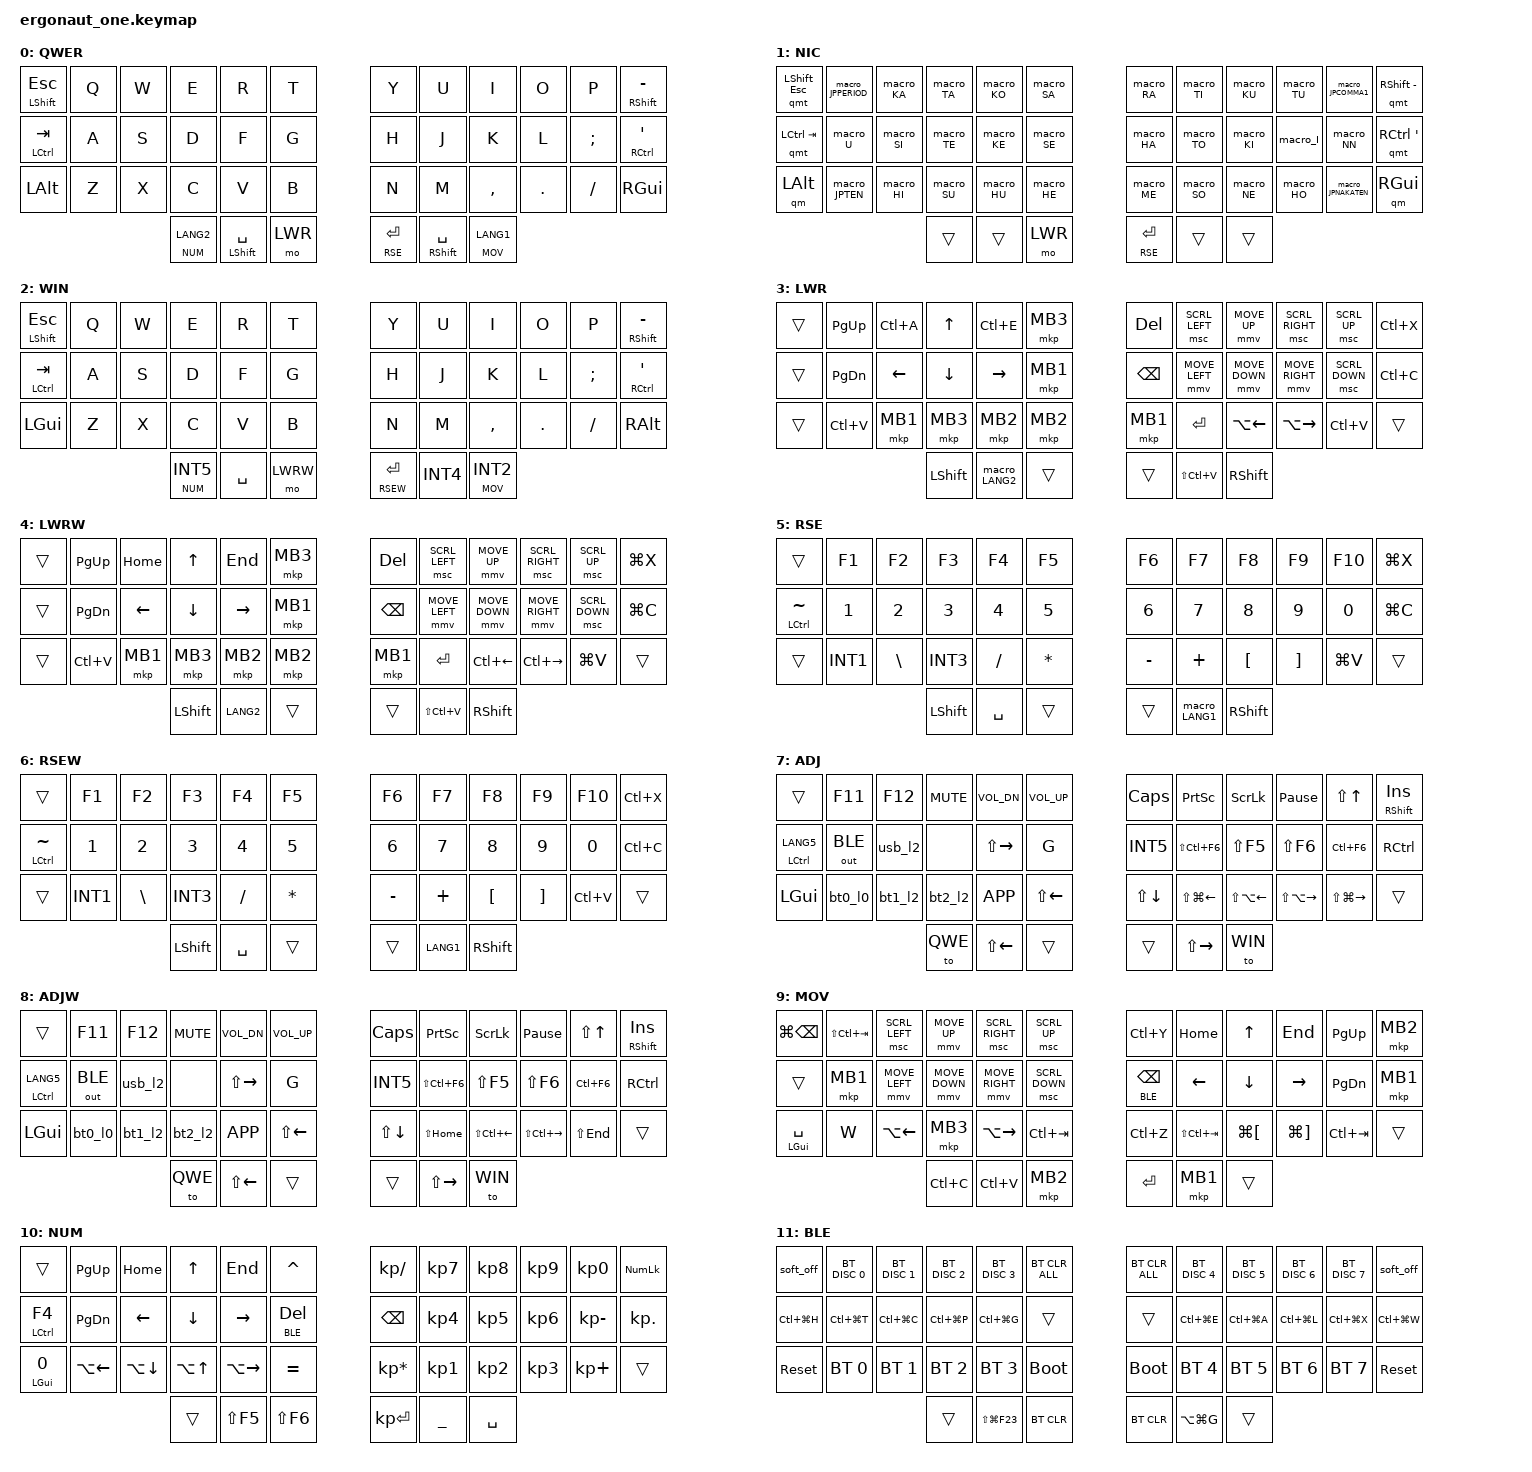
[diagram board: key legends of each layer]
#include <behaviors.dtsi>
#include <dt-bindings/zmk/keys.h>
#include <dt-bindings/zmk/bt.h>
#include <dt-bindings/zmk/mouse.h>
#include <dt-bindings/zmk/outputs.h>

// #define ZMK_POINTING_DEFAULT_MOVE_VAL 1200  // default: 600
// #define ZMK_POINTING_DEFAULT_SCRL_VAL 20    // default: 10

#include <dt-bindings/zmk/pointing.h>
#include <mouse-gesture.dtsi>

#define QWE 0
#define NIC 1
#define WIN 2
#define LWR 3
#define LWRW 4
#define RSE 5
#define RSEW 6
#define ADJ 7
#define ADJW 8
#define MOV 9
#define NUM 10
#define BLE 11


&lt {
    quick-tap-ms = <150>;
};

&mt {
    quick-tap-ms = <150>;
};

&caps_word {
    continue-list = <UNDERSCORE MINUS>;
};

/ { // ここが唯一のルートノードの始まり
    combos {
        compatible = "zmk,combos";

// 複数キーの同時押しに特別の入力を設定できる
    // キー番号早見表：
    // 	0  1  2  3  4  5 	 6  7  8  9 10 11
    // 12 13 14 15 16 17	18 19 20 21 22 23
    // 24 25 26 27 28 29	30 31 32 33 34 35
    //          36 37 38	39 40 41 

	combo_ESC {
		timeout-ms = <80>;
		key-positions = <11 23>;
		layers = <0 1 2>;
		bindings = <&kp ESC>;
	};

	combo_PSHIFT {
		timeout-ms = <80>;
		key-positions = <24 35>;
		layers = <0 2 3 4 5 6>;
		bindings = <&kp LSHIFT>;
	};

	// combo_TSHIFT {
	// 	timeout-ms = <80>;
	// 	key-positions = <36 41>;
	// 	layers = <0 2 3 4 5 6>;
	// 	bindings = <&kp RSHIFT>;
	// };
	
	combo_PLSHIFT {
		timeout-ms = <80>;
		key-positions = <12 24>;
		layers = <0 5 6>;
		bindings = <&kp LSHIFT>;
	};

	combo_PRSHIFT {
		timeout-ms = <80>;
		key-positions = <23 35>;
		layers = <0 5 6>;
		bindings = <&kp RSHIFT>;
		};

	combo_RCOPY {
		timeout-ms = <80>;
		key-positions = <23 35>;
		layers = <1 2>;
		bindings = <&kp C>;
		};

	combo_RDEL {
		timeout-ms = <80>;
		key-positions = <23 35>;
		layers = <9>;
		bindings = <&kp D>;
		};

	combo_CAPSWORD {
		timeout-ms = <30>;
		key-positions = <36 41>;
		layers = <0 2>;
		bindings = <&caps_word>;
	};

	// combo_JPQMARKL {
	// 	timeout-ms = <50>;
	// 	key-positions = <13 37>;
	// 	layers = <5>;
	// 	bindings = <&macro_JPQMARKL>;
	// };

	// combo_JPSLASHL {
	// 	timeout-ms = <50>;
	// 	key-positions = <14 37>;
	// 	layers = <5>;
	// 	bindings = <&macro_JPSLASHL>;
	// };

	// combo_JPTILDEL {
	// 	timeout-ms = <50>;
	// 	key-positions = <15 37>;
	// 	layers = <5>;
	// 	bindings = <&macro_JPTILDEL>;
	// };

	// combo_JPLKAGIL {
	// 	timeout-ms = <50>;
	// 	key-positions = <16 37>;
	// 	layers = <5>;
	// 	bindings = <&macro_JPLKAGIL>;
	// };

	// combo_JPRKAGIL {
	// 	timeout-ms = <50>;
	// 	key-positions = <17 37>;
	// 	layers = <5>;
	// 	bindings = <&macro_JPRKAGIL>;
	// };

	// combo_JPLKADOL {
	// 	timeout-ms = <50>;
	// 	key-positions = <18 37>;
	// 	layers = <5>;
	// 	bindings = <&macro_JPLKADOL>;
	// };

	// combo_JPRKADOL {
	// 	timeout-ms = <50>;
	// 	key-positions = <19 37>;
	// 	layers = <5>;
	// 	bindings = <&macro_JPRKADOL>;
	// };

	// combo_JPLMARUL {
	// 	timeout-ms = <50>;
	// 	key-positions = <20 37>;
	// 	layers = <5>;
	// 	bindings = <&macro_JPLMARUL>;
	// };

	// combo_JPRMARUL {
	// 	timeout-ms = <50>;
	// 	key-positions = <21 37>;
	// 	layers = <5>;
	// 	bindings = <&macro_JPRMARUL>;
	// };

	// combo_JPLDKAGIL {
	// 	timeout-ms = <50>;
	// 	key-positions = <22 37>;
	// 	layers = <5>;
	// 	bindings = <&macro_JPLDKAGIL>;
	// };

	// combo_JPRDKAGIL {
	// 	timeout-ms = <50>;
	// 	key-positions = <23 37>;
	// 	layers = <5>;
	// 	bindings = <&macro_JPRDKAGIL>;
	// };

	combo_XA {
		timeout-ms = <50>;
		key-positions = <1 37>;
		layers = <1>;
		bindings = <&macro_XA>;
	};

	combo_E {
		timeout-ms = <50>;
		key-positions = <2 37>;
		layers = <1>;
		bindings = <&macro_E>;
	};

	combo_RI {
		timeout-ms = <50>;
		key-positions = <3 37>;
		layers = <1>;
		bindings = <&macro_RI>;
	};

	combo_XYA {
		timeout-ms = <50>;
		key-positions = <4 37>;
		layers = <1>;
		bindings = <&macro_XYA>;
	};

	combo_RE {
		timeout-ms = <50>;
		key-positions = <5 37>;
		layers = <1>;
		bindings = <&macro_RE>;
	};

	combo_PA {
		timeout-ms = <50>;
		key-positions = <6 37>;
		layers = <1>;
		bindings = <&macro_PA>;
	};

	combo_DI {
		timeout-ms = <50>;
		key-positions = <7 37>;
		layers = <1>;
		bindings = <&macro_DI>;
	};

	combo_GU {
		timeout-ms = <50>;
		key-positions = <8 37>;
		layers = <1>;
		bindings = <&macro_GU>;
	};

	combo_DU {
		timeout-ms = <50>;
		key-positions = <9 37>;
		layers = <1>;
		bindings = <&macro_DU>;
	};

	combo_PI {
		timeout-ms = <50>;
		key-positions = <10 37>;
		layers = <1>;
		bindings = <&macro_PI>;
	};

	combo_WO {
		timeout-ms = <50>;
		key-positions = <13 37>;
		layers = <1>;
		bindings = <&macro_WO>;
	};

	combo_A {
		timeout-ms = <50>;
		key-positions = <14 37>;
		layers = <1>;
		bindings = <&macro_A>;
	};

	combo_NA {
		timeout-ms = <50>;
		key-positions = <15 37>;
		layers = <1>;
		bindings = <&macro_NA>;
	};

	combo_XYU {
		timeout-ms = <50>;
		key-positions = <16 37>;
		layers = <1>;
		bindings = <&macro_XYU>;
	};

	combo_MO {
		timeout-ms = <50>;
		key-positions = <17 37>;
		layers = <1>;
		bindings = <&macro_MO>;
	};

	combo_BA {
		timeout-ms = <50>;
		key-positions = <18 37>;
		layers = <1>;
		bindings = <&macro_BA>;
	};

	combo_DO {
		timeout-ms = <50>;
		key-positions = <19 37>;
		layers = <1>;
		bindings = <&macro_DO>;
	};

	combo_GI {
		timeout-ms = <50>;
		key-positions = <20 37>;
		layers = <1>;
		bindings = <&macro_GI>;
	};

	combo_PO {
		timeout-ms = <50>;
		key-positions = <21 37>;
		layers = <1>;
		bindings = <&macro_PO>;
	};

	combo_XU {
		timeout-ms = <50>;
		key-positions = <25 37>;
		layers = <1>;
		bindings = <&macro_XU>;
	};

	combo_JPMINUS2 {
		timeout-ms = <50>;
		key-positions = <26 37>;
		layers = <1>;
		bindings = <&macro_JPMINUS2>;
	};

	combo_RO {
		timeout-ms = <50>;
		key-positions = <27 37>;
		layers = <1>;
		bindings = <&macro_RO>;
	};

	combo_YA {
		timeout-ms = <50>;
		key-positions = <28 37>;
		layers = <1>;
		bindings = <&macro_YA>;
	};

	combo_XI {
		timeout-ms = <50>;
		key-positions = <29 37>;
		layers = <1>;
		bindings = <&macro_XI>;
	};

	combo_PU {
		timeout-ms = <50>;
		key-positions = <30 37>;
		layers = <1>;
		bindings = <&macro_PU>;
	};

	combo_ZO {
		timeout-ms = <50>;
		key-positions = <31 37>;
		layers = <1>;
		bindings = <&macro_ZO>;
	};

	combo_PE {
		timeout-ms = <50>;
		key-positions = <32 37>;
		layers = <1>;
		bindings = <&macro_PE>;
	};

	combo_BO {
		timeout-ms = <50>;
		key-positions = <33 37>;
		layers = <1>;
		bindings = <&macro_BO>;
	};

	// combo_JPQMARKR {
	// 	timeout-ms = <50>;
	// 	key-positions = <13 40>;
	// 	layers = <5>;
	// 	bindings = <&macro_JPQMARKR>;
	// };

	// combo_JPSLASHR {
	// 	timeout-ms = <50>;
	// 	key-positions = <14 40>;
	// 	layers = <5>;
	// 	bindings = <&macro_JPSLASHR>;
	// };

	// combo_JPTILDER {
	// 	timeout-ms = <50>;
	// 	key-positions = <15 40>;
	// 	layers = <1>;
	// 	bindings = <&macro_JPTILDER>;
	// };

	// combo_JPLKAGIR {
	// 	timeout-ms = <50>;
	// 	key-positions = <16 40>;
	// 	layers = <1>;
	// 	bindings = <&macro_JPLKAGIR>;
	// };

	// combo_JPRKAGIR {
	// 	timeout-ms = <50>;
	// 	key-positions = <17 40>;
	// 	layers = <1>;
	// 	bindings = <&macro_JPRKAGIR>;
	// };

	// combo_JPLKADOR {
	// 	timeout-ms = <50>;
	// 	key-positions = <18 40>;
	// 	layers = <1>;
	// 	bindings = <&macro_JPLKADOR>;
	// };

	// combo_JPRKADOR {
	// 	timeout-ms = <50>;
	// 	key-positions = <19 40>;
	// 	layers = <1>;
	// 	bindings = <&macro_JPRKADOR>;
	// };

	// combo_JPLMARUR {
	// 	timeout-ms = <50>;
	// 	key-positions = <20 40>;
	// 	layers = <1>;
	// 	bindings = <&macro_JPLMARUR>;
	// };

	// combo_JPRMARUR {
	// 	timeout-ms = <50>;
	// 	key-positions = <21 40>;
	// 	layers = <1>;
	// 	bindings = <&macro_JPRMARUR>;
	// };

	// combo_JPLDKAGIR {
	// 	timeout-ms = <50>;
	// 	key-positions = <22 40>;
	// 	layers = <1>;
	// 	bindings = <&macro_JPLDKAGIR>;
	// };

	// combo_JPRDKAGIR {
	// 	timeout-ms = <50>;
	// 	key-positions = <23 40>;
	// 	layers = <1>;
	// 	bindings = <&macro_JPRDKAGIR>;
	// };
	
	combo_JPTILDER {
		timeout-ms = <50>;
		key-positions = <1 40>;
		layers = <1>;
		bindings = <&macro_JPTILDER>;
	};

	combo_GA {
		timeout-ms = <50>;
		key-positions = <2 40>;
		layers = <1>;
		bindings = <&macro_GA>;
	};

	combo_DA {
		timeout-ms = <50>;
		key-positions = <3 40>;
		layers = <1>;
		bindings = <&macro_DA>;
	};

	combo_GO {
		timeout-ms = <50>;
		key-positions = <4 40>;
		layers = <1>;
		bindings = <&macro_GO>;
	};

	combo_ZA {
		timeout-ms = <50>;
		key-positions = <5 40>;
		layers = <1>;
		bindings = <&macro_ZA>;
	};

	combo_YO {
		timeout-ms = <50>;
		key-positions = <6 40>;
		layers = <1>;
		bindings = <&macro_YO>;
	};

	combo_NI {
		timeout-ms = <50>;
		key-positions = <7 40>;
		layers = <1>;
		bindings = <&macro_NI>;
	};

	combo_RU {
		timeout-ms = <50>;
		key-positions = <8 40>;
		layers = <1>;
		bindings = <&macro_RU>;
	};

	combo_MA {
		timeout-ms = <50>;
		key-positions = <9 40>;
		layers = <1>;
		bindings = <&macro_MA>;
	};

	combo_XE {
		timeout-ms = <50>;
		key-positions = <10 40>;
		layers = <1>;
		bindings = <&macro_XE>;
	};

	combo_VU {
		timeout-ms = <50>;
		key-positions = <13 40>;
		layers = <1>;
		bindings = <&macro_VU>;
	};

	combo_JI {
		timeout-ms = <50>;
		key-positions = <14 40>;
		layers = <1>;
		bindings = <&macro_JI>;
	};

	combo_DE {
		timeout-ms = <50>;
		key-positions = <15 40>;
		layers = <1>;
		bindings = <&macro_DE>;
	};

	combo_GE {
		timeout-ms = <50>;
		key-positions = <16 40>;
		layers = <1>;
		bindings = <&macro_GE>;
	};

	combo_ZE {
		timeout-ms = <50>;
		key-positions = <17 40>;
		layers = <1>;
		bindings = <&macro_ZE>;
	};

	combo_MI {
		timeout-ms = <50>;
		key-positions = <18 40>;
		layers = <1>;
		bindings = <&macro_MI>;
	};

	combo_O {
		timeout-ms = <50>;
		key-positions = <19 40>;
		layers = <1>;
		bindings = <&macro_O>;
	};

	combo_NO {
		timeout-ms = <50>;
		key-positions = <20 40>;
		layers = <1>;
		bindings = <&macro_NO>;
	};

	combo_XYO {
		timeout-ms = <50>;
		key-positions = <21 40>;
		layers = <1>;
		bindings = <&macro_XYO>;
	};

	combo_XTU {
		timeout-ms = <50>;
		key-positions = <22 40>;
		layers = <1>;
		bindings = <&macro_XTU>;
	};

	combo_JPCOMMA2 {
		timeout-ms = <50>;
		key-positions = <25 40>;
		layers = <1>;
		bindings = <&macro_JPCOMMA2>;
	};

	combo_BI {
		timeout-ms = <50>;
		key-positions = <26 40>;
		layers = <1>;
		bindings = <&macro_BI>;
	};

	combo_ZU {
		timeout-ms = <50>;
		key-positions = <27 40>;
		layers = <1>;
		bindings = <&macro_ZU>;
	};

	combo_BU {
		timeout-ms = <50>;
		key-positions = <28 40>;
		layers = <1>;
		bindings = <&macro_BU>;
	};

	combo_BE {
		timeout-ms = <50>;
		key-positions = <29 40>;
		layers = <1>;
		bindings = <&macro_BE>;
	};

	combo_NU {
		timeout-ms = <50>;
		key-positions = <30 40>;
		layers = <1>;
		bindings = <&macro_NU>;
	};

	combo_YU {
		timeout-ms = <50>;
		key-positions = <31 40>;
		layers = <1>;
		bindings = <&macro_YU>;
	};

	combo_MU {
		timeout-ms = <50>;
		key-positions = <32 40>;
		layers = <1>;
		bindings = <&macro_MU>;
	};

	combo_WA {
		timeout-ms = <50>;
		key-positions = <33 40>;
		layers = <1>;
		bindings = <&macro_WA>;
	};

	combo_XO {
		timeout-ms = <50>;
		key-positions = <34 40>;
		layers = <1>;
		bindings = <&macro_XO>;
	};

    }; // combos ノードの閉じ括弧の後にセミコロンが必要

    // ***** ここからが重要: 余分な "/ {" を削除し、既存のルートノード内で定義を続ける *****
    macro_LANG1: macro_LANG1 {
        compatible = "zmk,behavior-macro";
        label = "macro_LANG1";
        #binding-cells = <0>;
        bindings = <&kp LANG1>, <&to 1>;
    }; // 各マクロノードの閉じ括弧の後にセミコロンが必要

    macro_LANG2: macro_LANG2 {
        compatible = "zmk,behavior-macro";
        label = "macro_LANG2";
        #binding-cells = <0>;
        bindings = <&kp LANG2>, <&to 0>;
    }; // 各マクロノードの閉じ括弧の後にセミコロンが必要

	macro_JPN1: macro_JPN1{
		compatible = "zmk,behavior-macro";
		label = "macro_JPN1";
		#binding-cells = <0>;
		bindings = <&kp N1>;
	};
	macro_JPN2: macro_JPN2{
		compatible = "zmk,behavior-macro";
		label = "macro_JPN2";
		#binding-cells = <0>;
		bindings = <&kp N2>;
	};
	macro_JPN3: macro_JPN3{
		compatible = "zmk,behavior-macro";
		label = "macro_JPN3";
		#binding-cells = <0>;
		bindings = <&kp N3>;
	};
	macro_JPN4: macro_JPN4{
		compatible = "zmk,behavior-macro";
		label = "macro_JPN4";
		#binding-cells = <0>;
		bindings = <&kp N4>;
	};
	macro_JPN5: macro_JPN5{
		compatible = "zmk,behavior-macro";
		label = "macro_JPN5";
		#binding-cells = <0>;
		bindings = <&kp N5>;
	};
	macro_JPN6: macro_JPN6{
		compatible = "zmk,behavior-macro";
		label = "macro_JPN6";
		#binding-cells = <0>;
		bindings = <&kp N6>;
	};
	macro_JPN7: macro_JPN7{
		compatible = "zmk,behavior-macro";
		label = "macro_JPN7";
		#binding-cells = <0>;
		bindings = <&kp N7>;
	};
	macro_JPN8: macro_JPN8{
		compatible = "zmk,behavior-macro";
		label = "macro_JPN8";
		#binding-cells = <0>;
		bindings = <&kp N8>;
	};
	macro_JPN9: macro_JPN9{
		compatible = "zmk,behavior-macro";
		label = "macro_JPN9";
		#binding-cells = <0>;
		bindings = <&kp N9>;
	};
	macro_JPN0: macro_JPN0{
		compatible = "zmk,behavior-macro";
		label = "macro_JPN0";
		#binding-cells = <0>;
		bindings = <&kp N0>;
	};
	macro_JPMINUS1: macro_JPMINUS1{
		compatible = "zmk,behavior-macro";
		label = "macro_JPMINUS1";
		#binding-cells = <0>;
		bindings = <&kp MINUS>;
	};
	macro_JPPERIOD: macro_JPPERIOD{
		compatible = "zmk,behavior-macro";
		label = "macro_JPPERIOD";
		#binding-cells = <0>;
		bindings = <&kp PERIOD>;
	};
	macro_KA: macro_KA{
		compatible = "zmk,behavior-macro";
		label = "macro_KA";
		#binding-cells = <0>;
		bindings = <&kp K>, <&kp A>;
	};
	macro_TA: macro_TA{
		compatible = "zmk,behavior-macro";
		label = "macro_TA";
		#binding-cells = <0>;
		bindings = <&kp T>, <&kp A>;
	};
	macro_KO: macro_KO{
		compatible = "zmk,behavior-macro";
		label = "macro_KO";
		#binding-cells = <0>;
		bindings = <&kp K>, <&kp O>;
	};
	macro_SA: macro_SA{
		compatible = "zmk,behavior-macro";
		label = "macro_SA";
		#binding-cells = <0>;
		bindings = <&kp S>, <&kp A>;
	};
	macro_RA: macro_RA{
		compatible = "zmk,behavior-macro";
		label = "macro_RA";
		#binding-cells = <0>;
		bindings = <&kp R>, <&kp A>;
	};
	macro_TI: macro_TI{
		compatible = "zmk,behavior-macro";
		label = "macro_TI";
		#binding-cells = <0>;
		bindings = <&kp T>, <&kp I>;
	};
	macro_KU: macro_KU{
		compatible = "zmk,behavior-macro";
		label = "macro_KU";
		#binding-cells = <0>;
		bindings = <&kp K>, <&kp U>;
	};
	macro_TU: macro_TU{
		compatible = "zmk,behavior-macro";
		label = "macro_TU";
		#binding-cells = <0>;
		bindings = <&kp T>, <&kp U>;
	};
	macro_JPCOMMA2: macro_JPCOMMA2{
		compatible = "zmk,behavior-macro";
		label = "macro_JPCOMMA2";
		#binding-cells = <0>;
		bindings = <&kp LA(COMMA)>;
	};
	macro_JPCOMMA1: macro_JPCOMMA1{
		compatible = "zmk,behavior-macro";
		label = "macro_JPCOMMA1";
		#binding-cells = <0>;
		bindings = <&kp COMMA>;
	};
	macro_U: macro_U{
		compatible = "zmk,behavior-macro";
		label = "macro_U";
		#binding-cells = <0>;
		bindings = <&kp U>;
	};
	macro_SI: macro_SI{
		compatible = "zmk,behavior-macro";
		label = "macro_SI";
		#binding-cells = <0>;
		bindings = <&kp S>, <&kp I>;
	};
	macro_TE: macro_TE{
		compatible = "zmk,behavior-macro";
		label = "macro_TE";
		#binding-cells = <0>;
		bindings = <&kp T>, <&kp E>;
	};
	macro_KE: macro_KE{
		compatible = "zmk,behavior-macro";
		label = "macro_KE";
		#binding-cells = <0>;
		bindings = <&kp K>, <&kp E>;
	};
	macro_SE: macro_SE{
		compatible = "zmk,behavior-macro";
		label = "macro_SE";
		#binding-cells = <0>;
		bindings = <&kp S>, <&kp E>;
	};
	macro_HA: macro_HA{
		compatible = "zmk,behavior-macro";
		label = "macro_HA";
		#binding-cells = <0>;
		bindings = <&kp H>, <&kp A>;
	};
	macro_TO: macro_TO{
		compatible = "zmk,behavior-macro";
		label = "macro_TO";
		#binding-cells = <0>;
		bindings = <&kp T>, <&kp O>;
	};
	macro_KI: macro_KI{
		compatible = "zmk,behavior-macro";
		label = "macro_KI";
		#binding-cells = <0>;
		bindings = <&kp K>, <&kp I>;
	};
	macro_I: macro_I{
		compatible = "zmk,behavior-macro";
		label = "macro_I";
		#binding-cells = <0>;
		bindings = <&kp I>;
	};
	macro_NN: macro_NN{
		compatible = "zmk,behavior-macro";
		label = "macro_NN";
		#binding-cells = <0>;
		bindings = <&kp N>, <&kp N>;
	};
	macro_JPBACKSPACE: macro_JPBACKSPACE{
		compatible = "zmk,behavior-macro";
		label = "macro_JPBACKSPACE";
		#binding-cells = <0>;
		bindings = <&kp BACKSPACE>;
	};
	macro_JPTEN: macro_JPTEN{
		compatible = "zmk,behavior-macro";
		label = "macro_JPTEN";
		#binding-cells = <0>;
		bindings = <&kp LA(PERIOD)>;
	};
	macro_HI: macro_HI{
		compatible = "zmk,behavior-macro";
		label = "macro_HI";
		#binding-cells = <0>;
		bindings = <&kp H>, <&kp I>;
	};
	macro_SU: macro_SU{
		compatible = "zmk,behavior-macro";
		label = "macro_SU";
		#binding-cells = <0>;
		bindings = <&kp S>, <&kp U>;
	};
	macro_HU: macro_HU{
		compatible = "zmk,behavior-macro";
		label = "macro_HU";
		#binding-cells = <0>;
		bindings = <&kp H>, <&kp U>;
	};
	macro_HE: macro_HE{
		compatible = "zmk,behavior-macro";
		label = "macro_HE";
		#binding-cells = <0>;
		bindings = <&kp H>, <&kp E>;
	};
	macro_ME: macro_ME{
		compatible = "zmk,behavior-macro";
		label = "macro_ME";
		#binding-cells = <0>;
		bindings = <&kp M>, <&kp E>;
	};
	macro_SO: macro_SO{
		compatible = "zmk,behavior-macro";
		label = "macro_SO";
		#binding-cells = <0>;
		bindings = <&kp S>, <&kp O>;
	};
	macro_NE: macro_NE{
		compatible = "zmk,behavior-macro";
		label = "macro_NE";
		#binding-cells = <0>;
		bindings = <&kp N>, <&kp E>;
	};
	macro_HO: macro_HO{
		compatible = "zmk,behavior-macro";
		label = "macro_HO";
		#binding-cells = <0>;
		bindings = <&kp H>, <&kp O>;
	};
	macro_JPNAKATEN: macro_JPNAKATEN{
		compatible = "zmk,behavior-macro";
		label = "macro_JPNAKATEN";
		#binding-cells = <0>;
		bindings = <&kp SLASH>;
	};
	macro_JPEN: macro_JPEN{
		compatible = "zmk,behavior-macro";
		label = "macro_JPEN";
		#binding-cells = <0>;
		bindings = <&kp LA(BACKSLASH)>;
	};
	macro_JPQMARKL: macro_JPQMARKL{
		compatible = "zmk,behavior-macro";
		label = "macro_JPQMARKL";
		#binding-cells = <0>;
		bindings = <&kp QMARK>;
	};
	macro_JPSLASHL: macro_JPSLASHL{
		compatible = "zmk,behavior-macro";
		label = "macro_JPSLASHL";
		#binding-cells = <0>;
		bindings = <&kp LA(SLASH)>;
	};
	macro_JPTILDEL: macro_JPTILDEL{
		compatible = "zmk,behavior-macro";
		label = "macro_JPTILDEL";
		#binding-cells = <0>;
		bindings = <&kp TILDE>;
	};
	macro_JPLKAGIL: macro_JPLKAGIL{
		compatible = "zmk,behavior-macro";
		label = "macro_JPLKAGIL";
		#binding-cells = <0>;
		bindings = <&kp LBKT>;
	};
	macro_JPRKAGIL: macro_JPRKAGIL{
		compatible = "zmk,behavior-macro";
		label = "macro_JPRKAGIL";
		#binding-cells = <0>;
		bindings = <&kp RBKT>;
	};
	macro_JPLKADOL: macro_JPLKADOL{
		compatible = "zmk,behavior-macro";
		label = "macro_JPLKADOL";
		#binding-cells = <0>;
		bindings = <&kp LA(LBKT)>;
	};
	macro_JPRKADOL: macro_JPRKADOL{
		compatible = "zmk,behavior-macro";
		label = "macro_JPRKADOL";
		#binding-cells = <0>;
		bindings = <&kp LA(RBKT)>;
	};
	macro_JPLMARUL: macro_JPLMARUL{
		compatible = "zmk,behavior-macro";
		label = "macro_JPLMARUL";
		#binding-cells = <0>;
		bindings = <&kp LS(N9)>;
	};
	macro_JPRMARUL: macro_JPRMARUL{
		compatible = "zmk,behavior-macro";
		label = "macro_JPRMARUL";
		#binding-cells = <0>;
		bindings = <&kp LS(N0)>;
	};
	macro_JPLDKAGIL: macro_JPLDKAGIL{
		compatible = "zmk,behavior-macro";
		label = "macro_JPLDKAGIL";
		#binding-cells = <0>;
		bindings = <&kp LS(LBKT)>;
	};
	macro_JPRDKAGIL: macro_JPRDKAGIL{
		compatible = "zmk,behavior-macro";
		label = "macro_JPRDKAGIL";
		#binding-cells = <0>;
		bindings = <&kp LS(RBKT)>;
	};
	macro_XA: macro_XA{
		compatible = "zmk,behavior-macro";
		label = "macro_XA";
		#binding-cells = <0>;
		bindings = <&kp X>, <&kp A>;
	};
	macro_E: macro_E{
		compatible = "zmk,behavior-macro";
		label = "macro_E";
		#binding-cells = <0>;
		bindings = <&kp E>;
	};
	macro_RI: macro_RI{
		compatible = "zmk,behavior-macro";
		label = "macro_RI";
		#binding-cells = <0>;
		bindings = <&kp R>, <&kp I>;
	};
	macro_XYA: macro_XYA{
		compatible = "zmk,behavior-macro";
		label = "macro_XYA";
		#binding-cells = <0>;
		bindings = <&kp X>, <&kp Y>, <&kp A>;
	};
	macro_RE: macro_RE{
		compatible = "zmk,behavior-macro";
		label = "macro_RE";
		#binding-cells = <0>;
		bindings = <&kp R>, <&kp E>;
	};
	macro_PA: macro_PA{
		compatible = "zmk,behavior-macro";
		label = "macro_PA";
		#binding-cells = <0>;
		bindings = <&kp P>, <&kp A>;
	};
	macro_DI: macro_DI{
		compatible = "zmk,behavior-macro";
		label = "macro_DI";
		#binding-cells = <0>;
		bindings = <&kp D>, <&kp I>;
	};
	macro_GU: macro_GU{
		compatible = "zmk,behavior-macro";
		label = "macro_GU";
		#binding-cells = <0>;
		bindings = <&kp G>, <&kp U>;
	};
	macro_DU: macro_DU{
		compatible = "zmk,behavior-macro";
		label = "macro_DU";
		#binding-cells = <0>;
		bindings = <&kp D>, <&kp U>;
	};
	macro_PI: macro_PI{
		compatible = "zmk,behavior-macro";
		label = "macro_PI";
		#binding-cells = <0>;
		bindings = <&kp P>, <&kp I>;
	};
	macro_WO: macro_WO{
		compatible = "zmk,behavior-macro";
		label = "macro_WO";
		#binding-cells = <0>;
		bindings = <&kp W>, <&kp O>;
	};
	macro_A: macro_A{
		compatible = "zmk,behavior-macro";
		label = "macro_A";
		#binding-cells = <0>;
		bindings = <&kp A>;
	};
	macro_NA: macro_NA{
		compatible = "zmk,behavior-macro";
		label = "macro_NA";
		#binding-cells = <0>;
		bindings = <&kp N>, <&kp A>;
	};
	macro_XYU: macro_XYU{
		compatible = "zmk,behavior-macro";
		label = "macro_XYU";
		#binding-cells = <0>;
		bindings = <&kp X>, <&kp Y>, <&kp U>;
	};
	macro_MO: macro_MO{
		compatible = "zmk,behavior-macro";
		label = "macro_MO";
		#binding-cells = <0>;
		bindings = <&kp M>, <&kp O>;
	};
	macro_BA: macro_BA{
		compatible = "zmk,behavior-macro";
		label = "macro_BA";
		#binding-cells = <0>;
		bindings = <&kp B>, <&kp A>;
	};
	macro_DO: macro_DO{
		compatible = "zmk,behavior-macro";
		label = "macro_DO";
		#binding-cells = <0>;
		bindings = <&kp D>, <&kp O>;
	};
	macro_GI: macro_GI{
		compatible = "zmk,behavior-macro";
		label = "macro_GI";
		#binding-cells = <0>;
		bindings = <&kp G>, <&kp I>;
	};
	macro_PO: macro_PO{
		compatible = "zmk,behavior-macro";
		label = "macro_PO";
		#binding-cells = <0>;
		bindings = <&kp P>, <&kp O>;
	};
	macro_XU: macro_XU{
		compatible = "zmk,behavior-macro";
		label = "macro_XU";
		#binding-cells = <0>;
		bindings = <&kp X>, <&kp U>;
	};
	macro_JPMINUS2: macro_JPMINUS2{
		compatible = "zmk,behavior-macro";
		label = "macro_JPMINUS2";
		#binding-cells = <0>;
		bindings = <&kp MINUS>;
	};
	macro_RO: macro_RO{
		compatible = "zmk,behavior-macro";
		label = "macro_RO";
		#binding-cells = <0>;
		bindings = <&kp R>, <&kp O>;
	};
	macro_YA: macro_YA{
		compatible = "zmk,behavior-macro";
		label = "macro_YA";
		#binding-cells = <0>;
		bindings = <&kp Y>, <&kp A>;
	};
	macro_XI: macro_XI{
		compatible = "zmk,behavior-macro";
		label = "macro_XI";
		#binding-cells = <0>;
		bindings = <&kp X>, <&kp I>;
	};
	macro_PU: macro_PU{
		compatible = "zmk,behavior-macro";
		label = "macro_PU";
		#binding-cells = <0>;
		bindings = <&kp P>, <&kp U>;
	};
	macro_ZO: macro_ZO{
		compatible = "zmk,behavior-macro";
		label = "macro_ZO";
		#binding-cells = <0>;
		bindings = <&kp Z>, <&kp O>;
	};
	macro_PE: macro_PE{
		compatible = "zmk,behavior-macro";
		label = "macro_PE";
		#binding-cells = <0>;
		bindings = <&kp P>, <&kp E>;
	};
	macro_BO: macro_BO{
		compatible = "zmk,behavior-macro";
		label = "macro_BO";
		#binding-cells = <0>;
		bindings = <&kp B>, <&kp O>;
	};
	macro_JPQMARKR: macro_JPQMARKR{
		compatible = "zmk,behavior-macro";
		label = "macro_JPQMARKR";
		#binding-cells = <0>;
		bindings = <&kp QMARK>;
	};
	macro_JPSLASHR: macro_JPSLASHR{
		compatible = "zmk,behavior-macro";
		label = "macro_JPSLASHR";
		#binding-cells = <0>;
		bindings = <&kp LA(SLASH)>;
	};
	macro_JPTILDER: macro_JPTILDER{
		compatible = "zmk,behavior-macro";
		label = "macro_JPTILDER";
		#binding-cells = <0>;
		bindings = <&kp TILDE>;
	};
	macro_JPLKAGIR: macro_JPLKAGIR{
		compatible = "zmk,behavior-macro";
		label = "macro_JPLKAGIR";
		#binding-cells = <0>;
		bindings = <&kp LBKT>;
	};
	macro_JPRKAGIR: macro_JPRKAGIR{
		compatible = "zmk,behavior-macro";
		label = "macro_JPRKAGIR";
		#binding-cells = <0>;
		bindings = <&kp RBKT>;
	};
	macro_JPLKADOR: macro_JPLKADOR{
		compatible = "zmk,behavior-macro";
		label = "macro_JPLKADOR";
		#binding-cells = <0>;
		bindings = <&kp LA(LBKT)>;
	};
	macro_JPRKADOR: macro_JPRKADOR{
		compatible = "zmk,behavior-macro";
		label = "macro_JPRKADOR";
		#binding-cells = <0>;
		bindings = <&kp LA(RBKT)>;
	};
	macro_JPLMARUR: macro_JPLMARUR{
		compatible = "zmk,behavior-macro";
		label = "macro_JPLMARUR";
		#binding-cells = <0>;
		bindings = <&kp LS(N9)>;
	};
	macro_JPRMARUR: macro_JPRMARUR{
		compatible = "zmk,behavior-macro";
		label = "macro_JPRMARUR";
		#binding-cells = <0>;
		bindings = <&kp LS(N0)>;
	};
	macro_JPLDKAGIR: macro_JPLDKAGIR{
		compatible = "zmk,behavior-macro";
		label = "macro_JPLDKAGIR";
		#binding-cells = <0>;
		bindings = <&kp LS(LBKT)>;
	};
	macro_JPRDKAGIR: macro_JPRDKAGIR{
		compatible = "zmk,behavior-macro";
		label = "macro_JPRDKAGIR";
		#binding-cells = <0>;
		bindings = <&kp LS(RBKT)>;
	};
	macro_GA: macro_GA{
		compatible = "zmk,behavior-macro";
		label = "macro_GA";
		#binding-cells = <0>;
		bindings = <&kp G>, <&kp A>;
	};
	macro_DA: macro_DA{
		compatible = "zmk,behavior-macro";
		label = "macro_DA";
		#binding-cells = <0>;
		bindings = <&kp D>, <&kp A>;
	};
	macro_GO: macro_GO{
		compatible = "zmk,behavior-macro";
		label = "macro_GO";
		#binding-cells = <0>;
		bindings = <&kp G>, <&kp O>;
	};
	macro_ZA: macro_ZA{
		compatible = "zmk,behavior-macro";
		label = "macro_ZA";
		#binding-cells = <0>;
		bindings = <&kp Z>, <&kp A>;
	};
	macro_YO: macro_YO{
		compatible = "zmk,behavior-macro";
		label = "macro_YO";
		#binding-cells = <0>;
		bindings = <&kp Y>, <&kp O>;
	};
	macro_NI: macro_NI{
		compatible = "zmk,behavior-macro";
		label = "macro_NI";
		#binding-cells = <0>;
		bindings = <&kp N>, <&kp I>;
	};
	macro_RU: macro_RU{
		compatible = "zmk,behavior-macro";
		label = "macro_RU";
		#binding-cells = <0>;
		bindings = <&kp R>, <&kp U>;
	};
	macro_MA: macro_MA{
		compatible = "zmk,behavior-macro";
		label = "macro_MA";
		#binding-cells = <0>;
		bindings = <&kp M>, <&kp A>;
	};
	macro_XE: macro_XE{
		compatible = "zmk,behavior-macro";
		label = "macro_XE";
		#binding-cells = <0>;
		bindings = <&kp X>, <&kp E>;
	};
	macro_VU: macro_VU{
		compatible = "zmk,behavior-macro";
		label = "macro_VU";
		#binding-cells = <0>;
		bindings = <&kp V>, <&kp U>;
	};
	macro_JI: macro_JI{
		compatible = "zmk,behavior-macro";
		label = "macro_JI";
		#binding-cells = <0>;
		bindings = <&kp J>, <&kp I>;
	};
	macro_DE: macro_DE{
		compatible = "zmk,behavior-macro";
		label = "macro_DE";
		#binding-cells = <0>;
		bindings = <&kp D>, <&kp E>;
	};
	macro_GE: macro_GE{
		compatible = "zmk,behavior-macro";
		label = "macro_GE";
		#binding-cells = <0>;
		bindings = <&kp G>, <&kp E>;
	};
	macro_ZE: macro_ZE{
		compatible = "zmk,behavior-macro";
		label = "macro_ZE";
		#binding-cells = <0>;
		bindings = <&kp Z>, <&kp E>;
	};
	macro_MI: macro_MI{
		compatible = "zmk,behavior-macro";
		label = "macro_MI";
		#binding-cells = <0>;
		bindings = <&kp M>, <&kp I>;
	};
	macro_O: macro_O{
		compatible = "zmk,behavior-macro";
		label = "macro_O";
		#binding-cells = <0>;
		bindings = <&kp O>;
	};
	macro_NO: macro_NO{
		compatible = "zmk,behavior-macro";
		label = "macro_NO";
		#binding-cells = <0>;
		bindings = <&kp N>, <&kp O>;
	};
	macro_XYO: macro_XYO{
		compatible = "zmk,behavior-macro";
		label = "macro_XYO";
		#binding-cells = <0>;
		bindings = <&kp X>, <&kp Y>, <&kp O>;
	};
	macro_XTU: macro_XTU{
		compatible = "zmk,behavior-macro";
		label = "macro_XTU";
		#binding-cells = <0>;
		bindings = <&kp X>, <&kp T>, <&kp U>;
	};
	macro_BI: macro_BI{
		compatible = "zmk,behavior-macro";
		label = "macro_BI";
		#binding-cells = <0>;
		bindings = <&kp B>, <&kp I>;
	};
	macro_ZU: macro_ZU{
		compatible = "zmk,behavior-macro";
		label = "macro_ZU";
		#binding-cells = <0>;
		bindings = <&kp Z>, <&kp U>;
	};
	macro_BU: macro_BU{
		compatible = "zmk,behavior-macro";
		label = "macro_BU";
		#binding-cells = <0>;
		bindings = <&kp B>, <&kp U>;
	};
	macro_BE: macro_BE{
		compatible = "zmk,behavior-macro";
		label = "macro_BE";
		#binding-cells = <0>;
		bindings = <&kp B>, <&kp E>;
	};
	macro_NU: macro_NU{
		compatible = "zmk,behavior-macro";
		label = "macro_NU";
		#binding-cells = <0>;
		bindings = <&kp N>, <&kp U>;
	};
	macro_YU: macro_YU{
		compatible = "zmk,behavior-macro";
		label = "macro_YU";
		#binding-cells = <0>;
		bindings = <&kp Y>, <&kp U>;
	};
	macro_MU: macro_MU{
		compatible = "zmk,behavior-macro";
		label = "macro_MU";
		#binding-cells = <0>;
		bindings = <&kp M>, <&kp U>;
	};
	macro_WA: macro_WA{
		compatible = "zmk,behavior-macro";
		label = "macro_WA";
		#binding-cells = <0>;
		bindings = <&kp W>, <&kp A>;
	};
	macro_XO: macro_XO{
		compatible = "zmk,behavior-macro";
		label = "macro_XO";
		#binding-cells = <0>;
		bindings = <&kp X>, <&kp O>;
	};

	qmt: qwerty_mt {
            compatible = "zmk,behavior-macro-two-param";
            wait-ms = <0>;
            tap-ms = <0>;
            #binding-cells = <2>;
            bindings
                = <&macro_press &mo WIN>
                , <&macro_param_1to1>
                , <&macro_param_2to2>
                , <&macro_press &mt MACRO_PLACEHOLDER MACRO_PLACEHOLDER>
                , <&macro_pause_for_release>
                , <&macro_param_1to1>
                , <&macro_param_2to2>
                , <&macro_release &mt MACRO_PLACEHOLDER MACRO_PLACEHOLDER>
                , <&macro_release &mo WIN>
                ;
        };
        
	qm: qwerty_m {
            compatible = "zmk,behavior-macro-one-param";
            wait-ms = <0>;
            tap-ms = <0>;
            #binding-cells = <1>;
            bindings
                = <&macro_press &mo WIN>
                , <&macro_param_1to1>
                , <&macro_press &kp MACRO_PLACEHOLDER>
                , <&macro_pause_for_release>
                , <&macro_param_1to1>
                , <&macro_release &kp MACRO_PLACEHOLDER>
                , <&macro_release &mo WIN>
                ;
        };

    conditional_layers {
        compatible = "zmk,conditional-layers";

        tri-layer {
            if-layers = <LWR RSE>;
            then-layer = <ADJ>;
        };
		tri-layerw {
            if-layers = <LWRW RSEW>;
            then-layer = <ADJW>;
        };
    }; // conditional_layers の閉じ括弧の後にセミコロンが必要

    keymap {
        compatible = "zmk,keymap";

        default_layer {
            display-name = "QWER";
            bindings = <
                &mt LSHFT ESC     &kp Q   &kp W     &kp E         &kp R             &kp T         &kp Y         &kp U				&kp I         &kp O     &kp P      &mt RSHFT MINUS
                &mt LCTRL TAB     &kp A   &kp S     &kp D         &kp F             &kp G         &kp H         &kp J				&kp K         &kp L     &kp SEMI   &mt RCTRL SQT
                &kp LALT          &kp Z   &kp X     &kp C         &kp V             &kp B         &kp N         &kp M				&kp COMMA     &kp DOT   &kp FSLH   &kp RGUI
                                                    &lt NUM LANG2 &mt LSHIFT SPACE  &mo LWR       &lt RSE ENTER &mt RSHIFT SPACE	&lt MOV LANG1
            >;
        };
        nicola_layer {
            display-name = "NIC";
            bindings = <
                &qmt LSHFT ESC	&macro_JPPERIOD &macro_KA	&macro_TA      &macro_KO      &macro_SA      &macro_RA      &macro_TI      &macro_KU      &macro_TU      &macro_JPCOMMA1  &qmt RSHFT MINUS
                &qmt LCTRL TAB	&macro_U        &macro_SI	&macro_TE      &macro_KE      &macro_SE      &macro_HA      &macro_TO      &macro_KI      &macro_I       &macro_NN        &qmt RCTRL SQT
                &qm LALT	&macro_JPTEN    &macro_HI	&macro_SU      &macro_HU      &macro_HE      &macro_ME      &macro_SO      &macro_NE      &macro_HO      &macro_JPNAKATEN &qm RGUI
                                                		&trans         &trans         &mo LWR        &lt RSE ENTER  &trans         &trans
            >;
        };
        windows_layer {
            display-name = "WIN";
            bindings = <
                &mt LSHFT ESC     &kp Q   &kp W     &kp E         &kp R             &kp T         &kp Y         	&kp U            &kp I         &kp O     &kp P      &mt RSHFT MINUS
                &mt LCTRL TAB     &kp A   &kp S     &kp D         &kp F             &kp G         &kp H         	&kp J            &kp K         &kp L     &kp SEMI   &mt RCTRL SQT
                &kp LGUI          &kp Z   &kp X     &kp C         &kp V             &kp B         &kp N         	&kp M            &kp COMMA     &kp DOT   &kp FSLH   &kp RALT
                                                    &lt NUM INT5  &kp SPACE         &mo LWRW      &lt RSEW ENTER	&kp INT4         &lt MOV INT2
            >;
        };        
        lower_layer {
            display-name = "LWR";
            bindings = <
                &trans           &kp PG_UP  &kp LC(A)   &kp UP        &kp LC(E)    &mkp MB3    &kp DEL     &msc SCRL_LEFT &mmv MOVE_UP   &msc SCRL_RIGHT   &msc SCRL_UP   &kp LC(X)           
                &trans           &kp PG_DN  &kp LEFT    &kp DOWN      &kp RIGHT    &mkp MB1    &kp BSPC    &mmv MOVE_LEFT &mmv MOVE_DOWN &mmv MOVE_RIGHT   &msc SCRL_DOWN &kp LC(C)
                &trans           &kp LC(V)  &mkp MB1    &mkp MB3      &mkp MB2     &mkp MB2    &mkp MB1    &kp ENTER      &kp LA(LEFT)   &kp LA(RIGHT)     &kp LC(V)      &trans
                                                        &kp LSHFT     &macro_LANG2 &trans      &trans      &kp LS(LC(V))  &kp RSHFT
            >;
        };
		lowerw_layer {
            display-name = "LWRW";
            bindings = <
                &trans           &kp PG_UP  &kp HOME    &kp UP        &kp END     &mkp MB3    &kp DEL     &msc SCRL_LEFT &mmv MOVE_UP   &msc SCRL_RIGHT   &msc SCRL_UP   &kp LG(X)           
                &trans           &kp PG_DN  &kp LEFT    &kp DOWN      &kp RIGHT   &mkp MB1    &kp BSPC    &mmv MOVE_LEFT &mmv MOVE_DOWN &mmv MOVE_RIGHT   &msc SCRL_DOWN &kp LG(C)
                &trans           &kp LC(V)  &mkp MB1    &mkp MB3      &mkp MB2    &mkp MB2    &mkp MB1    &kp ENTER      &kp LC(LEFT)   &kp LC(RIGHT)     &kp LG(V)      &trans
                                                        &kp LSHFT     &kp LANG2   &trans      &trans      &kp LS(LC(V))  &kp RSHFT
            >;
        };
        raise_layer {
            display-name = "RSE";
            bindings = <
                &trans            &kp F1            &kp F2      &kp F3      &kp F4      &kp F5         &kp F6         &kp F7       &kp F8      &kp F9      &kp F10           &kp LG(X)
                &mt LCTRL TILDE   &kp N1            &kp N2      &kp N3      &kp N4      &kp N5         &kp N6         &kp N7       &kp N8      &kp N9      &kp N0            &kp LG(C)
                &trans            &kp INT1          &kp BSLH    &kp INT3    &kp SLASH   &kp ASTRK      &kp MINUS      &kp PLUS     &kp LBKT    &kp RBKT    &kp LG(V)         &trans
                                                                &kp LSHFT   &kp SPACE   &trans         &trans         &macro_LANG1 &kp RSHFT
            >;
        };
		raisew_layer {
            display-name = "RSEW";
            bindings = <
                &trans            &kp F1            &kp F2      &kp F3      &kp F4      &kp F5         &kp F6         &kp F7    &kp F8      &kp F9      &kp F10           &kp LC(X)
                &mt LCTRL TILDE   &kp N1            &kp N2      &kp N3      &kp N4      &kp N5         &kp N6         &kp N7    &kp N8      &kp N9      &kp N0            &kp LC(C)
                &trans            &kp INT1          &kp BSLH    &kp INT3    &kp SLASH   &kp ASTRK      &kp MINUS      &kp PLUS  &kp LBKT    &kp RBKT    &kp LC(V)         &trans
                                                                &kp LSHFT   &kp SPACE   &trans         &trans         &kp LANG1 &kp RSHFT
            >;
        };
        adjust_layer {
            display-name = "ADJ";
            bindings = <
                &trans            &kp F11        &kp F12        &kp C_MUTE        &kp C_VOL_DN   &kp C_VOL_UP   &kp CAPS       &kp PSCRN      	&kp SLCK         &kp PAUSE_BREAK   &kp LS(UP)     		&mt RSHFT INS
                &mt LCTRL LANG5   &out OUT_BLE   &usb_l2        &none             &kp LS(RIGHT)  &kp G          &kp INT5       &kp LS(LC(F6)) 	&kp LS(F5)       &kp LS(F6)        &kp LC(F6)     		&kp RCTRL
                &kp LGUI          &bt0_l0        &bt1_l2        &bt2_l2           &kp K_APP      &kp LS(LEFT)   &kp LS(DOWN)   &kp LS(LG(LEFT))	&kp LS(LA(LEFT)) &kp LS(LA(RIGHT)) &kp LS(LG(RIGHT))	&trans
                                                                &to QWE           &kp LS(LEFT)   &trans         &trans         &kp LS(RIGHT)  	&to WIN
            >;
        };
		adjustw_layer {
            display-name = "ADJW";
            bindings = <
                &trans            &kp F11        &kp F12        &kp C_MUTE        &kp C_VOL_DN   &kp C_VOL_UP   &kp CAPS       &kp PSCRN      &kp SLCK         &kp PAUSE_BREAK   &kp LS(UP)     &mt RSHFT INS
                &mt LCTRL LANG5   &out OUT_BLE   &usb_l2        &none             &kp LS(RIGHT)  &kp G          &kp INT5       &kp LS(LC(F6)) &kp LS(F5)       &kp LS(F6)        &kp LC(F6)     &kp RCTRL
                &kp LGUI          &bt0_l0        &bt1_l2        &bt2_l2           &kp K_APP      &kp LS(LEFT)   &kp LS(DOWN)   &kp LS(HOME)   &kp LS(LC(LEFT)) &kp LS(LC(RIGHT)) &kp LS(END)    &trans
                                                                &to QWE           &kp LS(LEFT)   &trans         &trans         &kp LS(RIGHT)  &to WIN
            >;
        };
        move_layer {
            display-name = "MOV";
            bindings = <
                &kp LG(BSPC)      &kp LS(LC(TAB))   &msc SCRL_LEFT  &mmv MOVE_UP   &msc SCRL_RIGHT   &msc SCRL_UP       &kp LC(Y)      &kp HOME         &kp UP        &kp END        &kp PG_UP    &mkp MB2
                &trans            &mkp MB1          &mmv MOVE_LEFT  &mmv MOVE_DOWN &mmv MOVE_RIGHT   &msc SCRL_DOWN     &lt BLE BSPC   &kp LEFT         &kp DOWN      &kp RIGHT      &kp PG_DN    &mkp MB1
                &mt LGUI SPACE    &kp W             &kp LA(LEFT)    &mkp MB3       &kp LA(RIGHT)     &kp LC(TAB)      	&kp LC(Z)      &kp LS(LC(TAB))  &kp LG(LBKT)  &kp LG(RBKT)   &kp LC(TAB)  &trans
                                                                    &kp LC(C)      &kp LC(V)         &mkp MB2           &kp ENTER      &mkp MB1         &trans
            >;
        };
        numpad_layer {
            display-name = "NUM";
            bindings = <
                &trans            &kp PG_UP     &kp HOME        &kp UP        &kp END         &kp CARET         &kp KP_SLASH    &kp KP_N7   &kp KP_N8   &kp KP_N9     &kp KP_N0         &kp KP_NLCK
                &mt LCTRL F4      &kp PG_DN     &kp LEFT        &kp DOWN      &kp RIGHT       &lt BLE DEL       &kp BSPC        &kp KP_N4   &kp KP_N5   &kp KP_N6     &kp KP_MINUS      &kp KP_DOT
                &mt LGUI N0       &kp LA(LEFT)  &kp LA(DOWN)    &kp LA(UP)    &kp LA(RIGHT)   &kp EQUAL         &kp KP_MULTIPLY &kp KP_N1   &kp KP_N2   &kp KP_N3     &kp KP_PLUS       &trans
                                                                &trans        &kp LS(F5)      &kp LS(F6)        &kp KP_ENTER    &kp UNDER   &kp SPACE
            >;
        };
        bluetooth_layer {
            display-name = "BLE";
            bindings = <
                &soft_off      &bt BT_DISC 0     &bt BT_DISC 1  &bt BT_DISC 2  &bt BT_DISC 3   &bt BT_CLR_ALL  &bt BT_CLR_ALL &bt BT_DISC 4   &bt BT_DISC 5 &bt BT_DISC 6 &bt BT_DISC 7 &soft_off
                &kp LC(LG(H))  &kp LC(LG(T))     &kp LC(LG(C))  &kp LC(LG(P))  &kp LC(LG(G))   &trans          &trans         &kp LC(LG(E))   &kp LC(LG(A)) &kp LC(LG(L)) &kp LC(LG(X)) &kp LC(LG(W))
                &sys_reset     &bt BT_SEL 0      &bt BT_SEL 1   &bt BT_SEL 2   &bt BT_SEL 3    &bootloader     &bootloader    &bt BT_SEL 4    &bt BT_SEL 5  &bt BT_SEL 6  &bt BT_SEL 7  &sys_reset
                                                                &trans         &kp LS(LG(F23)) &bt BT_CLR      &bt BT_CLR     &kp LA(LG(G))   &trans
            >;
        };
    };

	behaviors {
        // Bluetoothプロファイル0を選択し、レイヤー0を有効化
        bt0_l0: bt0_l0 {
            compatible = "zmk,behavior-macro";
            #binding-cells = <0>;
            bindings = <&to 0 &bt BT_SEL 0 &to 0>;
        };

        // Bluetoothプロファイル1を選択し、レイヤー2を有効化
        bt1_l2: bt1_l2 {
            compatible = "zmk,behavior-macro";
            #binding-cells = <0>;
            bindings = <&to 0 &bt BT_SEL 1 &to 2>;
        };

        // Bluetoothプロファイル2を選択し、レイヤー2を有効化
        bt2_l2: bt2_l2 {
            compatible = "zmk,behavior-macro";
            #binding-cells = <0>;
            bindings = <&to 0 &bt BT_SEL 2 &to 2>;
        };

        // USB接続を選択し、レイヤー2を有効化
        usb_l2: usb_l2 {
            compatible = "zmk,behavior-macro";
            #binding-cells = <0>;
            bindings = <&to 0 &out OUT_USB &to 2>;
        };
    };
};
